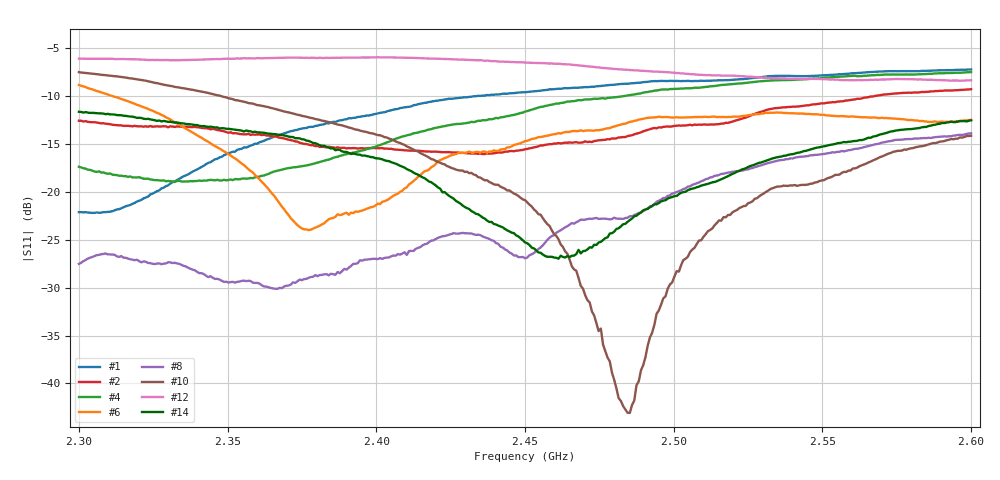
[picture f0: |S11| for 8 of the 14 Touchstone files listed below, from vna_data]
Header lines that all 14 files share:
! NanoVNA-App
! Start: 2.3GHz Stop: 2.6GHz Points: 401
! S-Parameter data: F S11
# Hz S RI R 50
!  Frequency  S11_Real  S11_Imag
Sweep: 2.3 GHz to 2.6 GHz
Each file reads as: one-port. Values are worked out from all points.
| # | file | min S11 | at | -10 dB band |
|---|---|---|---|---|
| 1 | pb-02-2.4ghz.s1p | -22.2 dB | 2.304 GHz | over 133.9 MHz wide |
| 2 | pb-03-2.4ghz.s1p | -16.1 dB | 2.436 GHz | over 267.6 MHz wide |
| 3 | pb-04-2.4ghz.s1p | -23.8 dB | 2.353 GHz | over 207.8 MHz wide |
| 4 | pb-07-2.4ghz.s1p | -19.0 dB | 2.332 GHz | over 183.4 MHz wide |
| 5 | pb-08-2.4ghz.s1p | -25.5 dB | 2.431 GHz | 242.8 MHz wide |
| 6 | RED-01-2.4ghz.s1p | -24.0 dB | 2.377 GHz | over 288.7 MHz wide |
| 7 | RED-02-2.4ghz.s1p | -15.0 dB | 2.416 GHz | over 270.2 MHz wide |
| 8 | sb-01-2.4ghz.s1p | -30.1 dB | 2.367 GHz | over 300 MHz wide |
| 9 | sb-08-2.4ghz.s1p | -51.2 dB | 2.444 GHz | over 300 MHz wide |
| 10 | sb-09-2.4ghz.s1p | -43.1 dB | 2.485 GHz | over 252.3 MHz wide |
| 11 | ST-04-2.4ghz.s1p | -8.5 dB | 2.402 GHz | - |
| 12 | SW-01-2.4ghz.s1p | -8.4 dB | 2.596 GHz | - |
| 13 | SW-02-2.4ghz.s1p | -8.3 dB | 2.511 GHz | - |
| 14 | TAO59-01-2.4ghz.s1p | -27.0 dB | 2.461 GHz | over 300 MHz wide |
